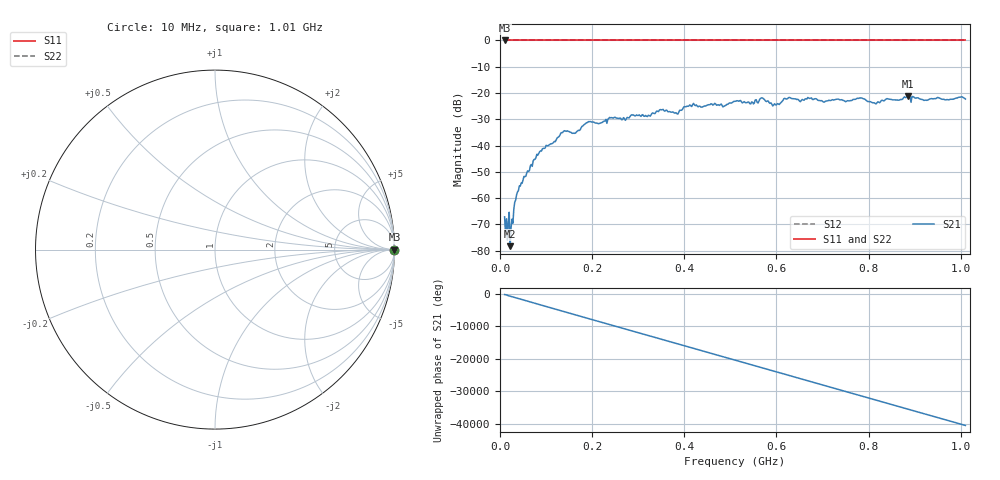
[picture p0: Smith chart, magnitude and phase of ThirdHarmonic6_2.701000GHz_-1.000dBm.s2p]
! 8/17/2025 6:28:13 AM
! C:\ANRITSUVNA\TEMP\TEMP.S2P
! CHANNEL.1
! TR.MEASUREMENT
! RAW.DATA
! RF.CORRECTION.OFF
! AVERAGING.OFF
! IF.BANDWIDTH: 5KHZ
! SWEEPTYPE:  FREQ.SWEEP(Linear)
! Reference Plane Port Info
! PORT:  PORT1  PORT2
! DISTANCE:  0  m  0  m
! TIME:  0  s  0  s
! PHASE.OFFSET:  0  deg.  0  deg.
! LOSS:  0  dB  0  dB
! REF.LOSS:  0  dB  0  dB
! REF.FREQ:  0  Hz  0  Hz
! Power Info
! POWER:  -20  dBm  -20  dBm
! EFF.POWER:  -20  dBm  -20  dBm
! SOURCE.ATTEN:  0  dB  0  dB
! TEST.ATTEN:  0  dB  0  dB
# GHZ S RI R 50.0
! FREQ.GHZ  S11RE  S11IM  S21RE  S21IM  S12RE  S12IM  S22RE  S22IM
!; PortSelection: Port_12
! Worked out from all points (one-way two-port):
!   501 points, 10 MHz to 1.01 GHz, reference 50 ohm
!   highest |S21| = -21.30 dB at 886 MHz (marker M1); lowest = -78.3 dB at 22 MHz (marker M2)
!   lowest |S11| = 0.0 dB at 10 MHz (marker M3)
!   |S11| at or under -10 dB: nowhere
!   |S22| runs from 0.0 to 0.0 dB; largest |S21 - S12| = 1.1
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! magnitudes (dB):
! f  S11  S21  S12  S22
! 10 MHz  0.0  -67.2  0.0  0.0
! 20 MHz  0.0  -65.4  0.0  0.0
! 22 MHz  0.0  -78.3  0.0  0.0
! 26 MHz  0.0  -68.0  0.0  0.0
! 34 MHz  0.0  -60.8  0.0  0.0
! 42 MHz  0.0  -55.4  0.0  0.0
! 84 MHz  0.0  -43.0  0.0  0.0
! 136 MHz  0.0  -35.1  0.0  0.0
! 160 MHz  0.0  -35.3  0.0  0.0
! 178 MHz  0.0  -32.7  0.0  0.0
! 344 MHz  0.0  -27.1  0.0  0.0
! 382 MHz  0.0  -27.5  0.0  0.0
! 416 MHz  0.0  -25.2  0.0  0.0
! 510 MHz  0.0  -23.2  0.0  0.0
! 568 MHz  0.0  -21.8  0.0  0.0
! 596 MHz  0.0  -24.1  0.0  0.0
! 626 MHz  0.0  -21.8  0.0  0.0
! 678 MHz  0.0  -22.5  0.0  0.0
! 814 MHz  0.0  -24.0  0.0  0.0
! 844 MHz  0.0  -22.3  0.0  0.0
! 886 MHz  0.0  -21.3  0.0  0.0
! 1.01 GHz  0.0  -22.3  0.0  0.0
